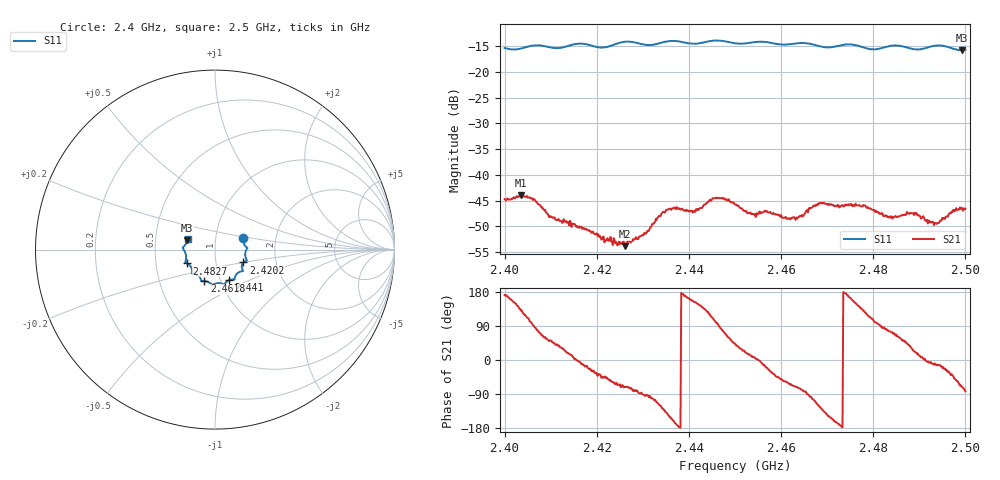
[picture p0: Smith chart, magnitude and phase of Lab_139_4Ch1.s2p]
# Hz S RI R 50
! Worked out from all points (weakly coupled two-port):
!   601 points, 2.4 GHz to 2.5 GHz, reference 50 ohm
!   highest |S21| = -43.98 dB at 2.4035 GHz (marker M1); lowest = -53.9 dB at 2.4262 GHz (marker M2)
!   lowest |S11| = -15.8 dB at 2.4993 GHz (marker M3), VSWR 1.39, Z = 36.5 + j3.85 ohm
!   |S11| at or under -10 dB: start of sweep to end of sweep
!   S12 and S22 are empty: the file has one direction only
!   S11 on the Smith chart (normalised r, x): 2.4 GHz: 1.36, +0.18; 2.4202 GHz: 1.36, -0.20; 2.441 GHz: 1.10, -0.39; 2.4618 GHz: 0.84, -0.30; 2.4827 GHz: 0.72, -0.12; 2.5 GHz: 0.73, +0.09
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2.4e9  0.1585 0.0627  -0.00574 0.000872  0 0  0 0
2.4035e9  0.1664 0.0233  -0.00417 0.00475  0 0  0 0
2.41e9  0.1722 -0.00594  0.00242 0.00305  0 0  0 0
2.416667e9  0.1775 -0.0607  0.00308 -0.000604  0 0  0 0
2.420167e9  0.1581 -0.0714  0.0019 -0.0017  0 0  0 0
2.426167e9  0.1566 -0.1179  0.000662 -0.00192  0 0  0 0
2.430333e9  0.1331 -0.1261  -0.00011 -0.00274  0 0  0 0
2.433333e9  0.1116 -0.151  -0.00164 -0.00355  0 0  0 0
2.436333e9  0.1091 -0.167  -0.0043 -0.0019  0 0  0 0
2.441e9  0.0784 -0.1699  -0.00402 0.0019  0 0  0 0
2.445667e9  0.0508 -0.1947  -0.00125 0.00575  0 0  0 0
2.45e9  0.0284 -0.187  0.00382 0.00348  0 0  0 0
2.454e9  -0.00719 -0.1932  0.00415 0.000526  0 0  0 0
2.461833e9  -0.0594 -0.1755  0.0017 -0.00336  0 0  0 0
2.466667e9  -0.0782 -0.1681  -0.000867 -0.00472  0 0  0 0
2.476667e9  -0.1269 -0.1267  -0.00406 0.00297  0 0  0 0
2.482667e9  -0.1561 -0.0773  0.000532 0.00401  0 0  0 0
2.483333e9  -0.1603 -0.0753  0.000904 0.00375  0 0  0 0
2.488833e9  -0.1609 -0.0392  0.00372 0.00165  0 0  0 0
2.493667e9  -0.1797 0.00762  0.00328 -0.000765  0 0  0 0
2.499333e9  -0.1539 0.0514  0.00146 -0.00446  0 0  0 0
2.5e9  -0.1522 0.0611  0.000587 -0.00463  0 0  0 0
